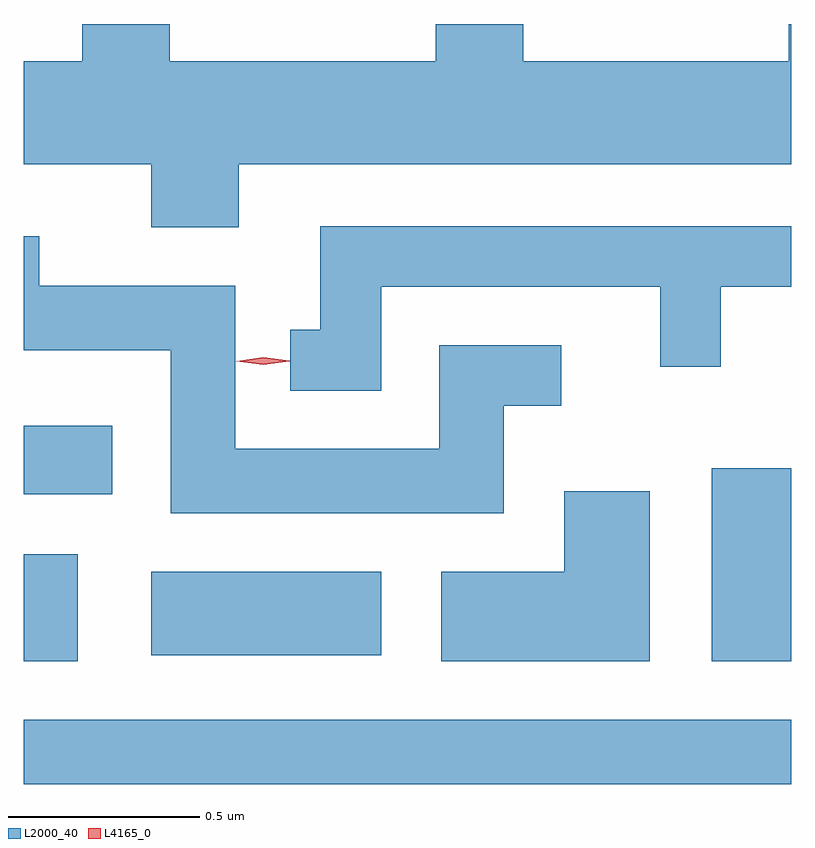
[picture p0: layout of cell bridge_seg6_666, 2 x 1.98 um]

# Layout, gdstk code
import gdstk
lib = gdstk.Library(unit=1e-6, precision=1e-09)
def R(c, l, rs):  # rectangles x0, y0, x1, y1
    for r in rs: c.add(gdstk.rectangle(r[:2], r[2:], *l))
def P(c, l, *ps):  # polygons
    for p in ps: c.add(gdstk.Polygon(p, *l))
L2000_40 = (2000, 40)
L4165_0 = (4165, 0)

bridge_seg6_666 = lib.new_cell('bridge_seg6_666')
R(bridge_seg6_666, L2000_40, [(318.888,1663.861,320.888,1664.029), (318.888,1664.181,319.029,1664.459), (320.681,1664.181,320.888,1664.684), (319.221,1664.196,319.819,1664.414), (318.888,1664.616,319.119,1664.794)])
P(bridge_seg6_666, L2000_40, [(319.449,1665.476),(320.888,1665.476),(320.888,1665.841),(320.881,1665.841),(320.881,1665.744),(320.189,1665.744),(320.189,1665.841),(319.961,1665.841),(319.961,1665.744),(319.269,1665.744),(319.269,1665.841),(319.041,1665.841),(319.041,1665.744),(318.888,1665.744),(318.888,1665.476),(319.221,1665.476),(319.221,1665.311),(319.449,1665.311)],
  [(319.819,1665.156),(320.546,1665.156),(320.546,1664.948),(320.704,1664.948),(320.704,1665.156),(320.888,1665.156),(320.888,1665.314),(319.661,1665.314),(319.661,1665.044),(319.583,1665.044),(319.583,1664.886),(319.819,1664.886)],
  [(320.139,1664.846),(320.288,1664.846),(320.288,1665.004),(319.971,1665.004),(319.971,1664.734),(319.439,1664.734),(319.439,1665.159),(318.929,1665.159),(318.929,1665.288),(318.888,1665.288),(318.888,1664.991),(319.271,1664.991),(319.271,1664.566),(320.139,1664.566)],
  [(320.519,1664.624),(320.296,1664.624),(320.296,1664.414),(319.976,1664.414),(319.976,1664.181),(320.519,1664.181)])
P(bridge_seg6_666, L4165_0, [(319.512,1664.953),(319.442,1664.962),(319.442,1664.962),(319.442,1664.963),(319.512,1664.973),(319.581,1664.964),(319.581,1664.963),(319.581,1664.963)])

lib.write_gds('bridge_seg6_666.gds')
